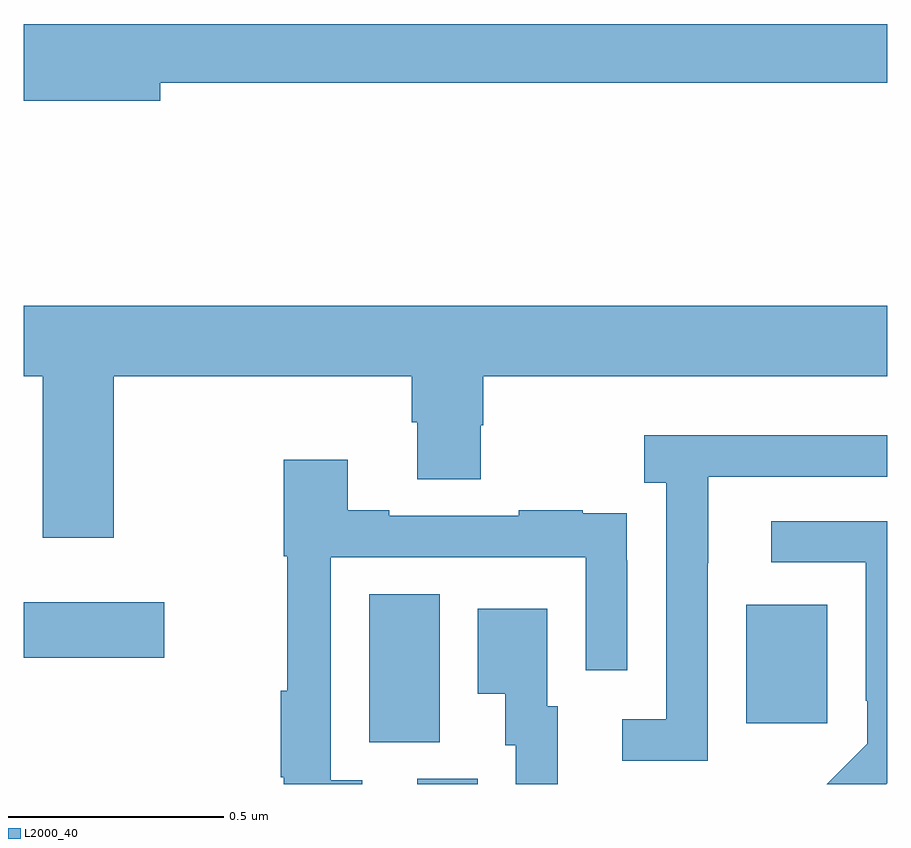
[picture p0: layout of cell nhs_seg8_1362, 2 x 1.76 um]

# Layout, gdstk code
import gdstk
lib = gdstk.Library(unit=1e-6, precision=1e-09)
def R(c, l, rs):  # rectangles x0, y0, x1, y1
    for r in rs: c.add(gdstk.rectangle(r[:2], r[2:], *l))
def P(c, l, *ps):  # polygons
    for p in ps: c.add(gdstk.Polygon(p, *l))
L2000_40 = (2000, 40)

nhs_seg8_1362 = lib.new_cell('nhs_seg8_1362')
R(nhs_seg8_1362, L2000_40, [(129.911,1104.9,130.051,1104.912), (129.8,1104.997,129.964,1105.34), (130.673,1105.041,130.861,1105.315), (129,1105.192,129.325,1105.321)])
P(nhs_seg8_1362, L2000_40, [(129.316,1106.524),(131,1106.524),(131,1106.66),(129,1106.66),(129,1106.482),(129.316,1106.482)],
  [(129.208,1105.844),(129.899,1105.844),(129.899,1105.738),(129.911,1105.738),(129.911,1105.606),(130.059,1105.606),(130.059,1105.731),(130.064,1105.731),(130.064,1105.844),(131,1105.844),(131,1106.008),(129,1106.008),(129,1105.844),(129.044,1105.844),(129.044,1105.47),(129.208,1105.47)],
  [(130.584,1105.411),(130.585,1105.411),(130.585,1105.611),(131,1105.611),(131,1105.708),(130.437,1105.708),(130.437,1105.598),(130.488,1105.598),(130.488,1105.05),(130.386,1105.05),(130.386,1104.954),(130.584,1104.954)],
  [(129.784,1104.909),(129.711,1104.909),(129.711,1105.425),(130.302,1105.425),(130.302,1105.164),(130.398,1105.164),(130.398,1105.418),(130.397,1105.418),(130.397,1105.527),(130.295,1105.527),(130.295,1105.534),(130.147,1105.534),(130.147,1105.521),(129.847,1105.521),(129.847,1105.534),(129.751,1105.534),(129.751,1105.651),(129.602,1105.651),(129.602,1105.428),(129.61,1105.428),(129.61,1105.116),(129.595,1105.116),(129.595,1104.916),(129.602,1104.916),(129.602,1104.9),(129.784,1104.9)],
  [(131,1104.902),(131,1105.509),(130.731,1105.509),(130.731,1105.413),(130.95,1105.413),(130.95,1105.093),(130.953,1105.093),(130.953,1104.993),(130.86,1104.9),(130.998,1104.9)],
  [(130.237,1105.08),(130.213,1105.08),(130.213,1105.306),(130.052,1105.306),(130.052,1105.109),(130.115,1105.109),(130.115,1104.99),(130.14,1104.99),(130.14,1104.9),(130.237,1104.9)])

lib.write_gds('nhs_seg8_1362.gds')
